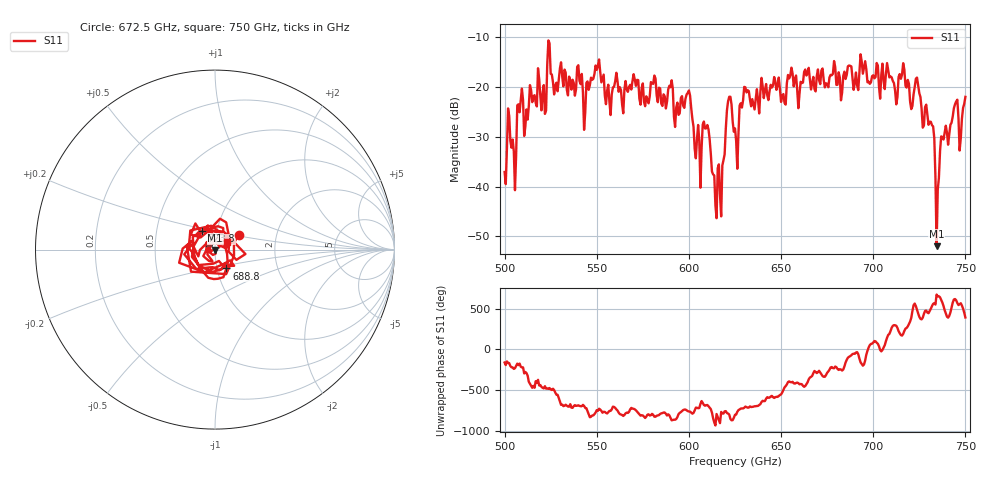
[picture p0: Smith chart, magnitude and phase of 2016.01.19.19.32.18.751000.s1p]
!Created with skrf (http://scikit-rf.org).
# GHz S RI R 50.0
!freq ReS11 ImS11
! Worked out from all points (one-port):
!   401 points, 500 GHz to 750 GHz, reference 50 ohm
!   lowest |S11| = -51.9 dB at 734.4 GHz (marker M1), VSWR 1.01, Z = 50.2 - j0.185 ohm
!   |S11| at or under -10 dB: start of sweep to end of sweep
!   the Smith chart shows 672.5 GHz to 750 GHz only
!   S11 on the Smith chart (normalised r, x): 672.5 GHz: 1.28, +0.21; 688.8 GHz: 1.11, -0.24; 723.8 GHz: 0.85, +0.18; 750 GHz: 1.14, +0.09
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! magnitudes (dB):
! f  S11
! 500 GHz  -37.1
! 503.1 GHz  -30.8
! 505 GHz  -32.9
! 508.1 GHz  -25.1
! 511.9 GHz  -24.5
! 521.2 GHz  -19.6
! 524.4 GHz  -11.2
! 531.2 GHz  -17.9
! 562.5 GHz  -20.0
! 590 GHz  -20.1
! 593.8 GHz  -23.1
! 600 GHz  -20.7
! 605 GHz  -27.6
! 609.4 GHz  -28.3
! 616.2 GHz  -35.5
! 621.9 GHz  -22.0
! 625 GHz  -28.3
! 631.2 GHz  -21.1
! 656.2 GHz  -17.3
! 672.5 GHz  -16.3
! 687.5 GHz  -15.7
! 688.8 GHz  -18.2
! 718.8 GHz  -18.6
! 723.8 GHz  -18.1
! 731.9 GHz  -27.7
! 734.4 GHz  -51.9
! 738.1 GHz  -30.5
! 750 GHz  -22.0
